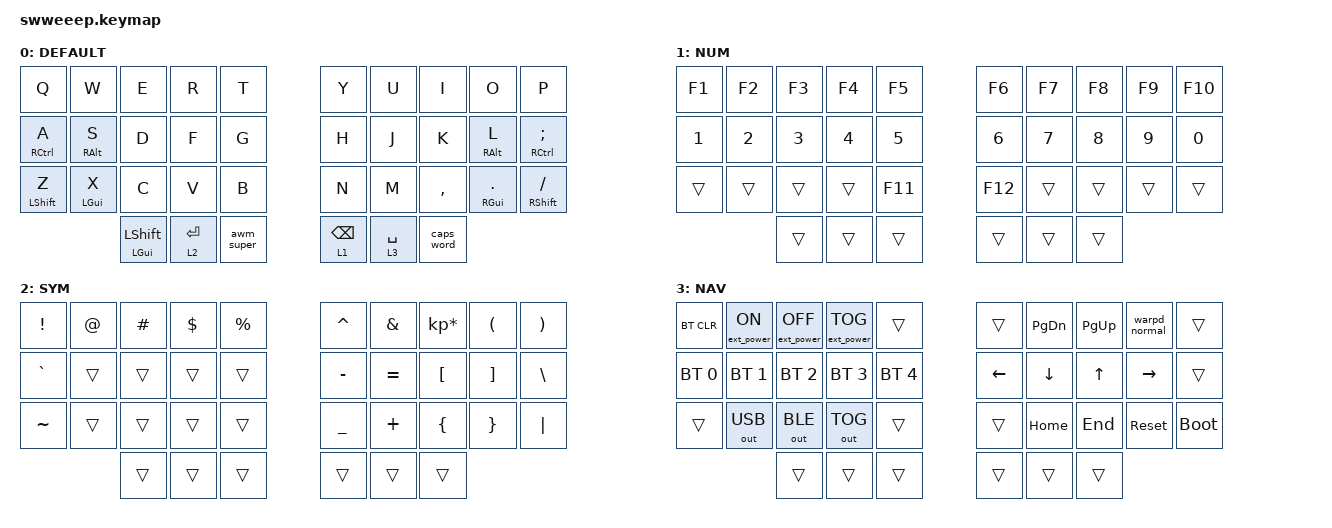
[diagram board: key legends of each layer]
// vim: set ft=devicetree: commentstring=//%s:
/*
* Copyright (c) 2020 The ZMK Contributors
*
* SPDX-License-Identifier: MIT
*/

#include <behaviors.dtsi>
#include <dt-bindings/zmk/bt.h>
#include <dt-bindings/zmk/ext_power.h>
#include <dt-bindings/zmk/keys.h>
#include <dt-bindings/zmk/outputs.h>

#define DEFAULT 0
#define NUM     1
#define SYM     2
#define NAV     3

/ {
    combos {
        compatible = "zmk,combos";

        tab {
            bindings = <&kp TAB>;
            key-positions = <2 1>;
            require-prior-idle-ms = <50>;
            layers = <DEFAULT>;
        };

        backspace {
            bindings = <&kp BACKSPACE>;
            key-positions = <7 6>;
            require-prior-idle-ms = <50>;
            layers = <DEFAULT>;
        };

        delete {
            bindings = <&kp DEL>;
            key-positions = <8 7>;
            require-prior-idle-ms = <50>;
            layers = <DEFAULT>;
        };

        minus {
            bindings = <&kp MINUS>;
            key-positions = <17 18>;
            require-prior-idle-ms = <50>;
            layers = <DEFAULT>;
        };

        quote {
            bindings = <&kp SQT>;
            key-positions = <16 17>;
            require-prior-idle-ms = <50>;
            layers = <DEFAULT>;
        };

        double_quote {
            bindings = <&kp DOUBLE_QUOTES>;
            key-positions = <26 27>;
            require-prior-idle-ms = <50>;
            layers = <DEFAULT>;
        };

        underscore {
            bindings = <&kp UNDERSCORE>;
            key-positions = <28 27>;
            require-prior-idle-ms = <50>;
            layers = <DEFAULT>;
        };

        grave {
            bindings = <&kp GRAVE>;
            key-positions = <3 2>;
            require-prior-idle-ms = <50>;
            layers = <DEFAULT>;
        };

        at {
            bindings = <&kp AT>;
            key-positions = <1 11>;
            require-prior-idle-ms = <50>;
            layers = <DEFAULT>;
        };

        hash {
            bindings = <&kp HASH>;
            key-positions = <2 12>;
            require-prior-idle-ms = <50>;
            layers = <DEFAULT>;
        };

        dollar {
            bindings = <&kp DOLLAR>;
            key-positions = <3 13>;
            require-prior-idle-ms = <50>;
            layers = <DEFAULT>;
        };

        percent {
            bindings = <&kp PERCENT>;
            key-positions = <4 14>;
            require-prior-idle-ms = <50>;
            layers = <DEFAULT>;
        };

        caret {
            bindings = <&kp CARET>;
            key-positions = <5 15>;
            require-prior-idle-ms = <50>;
            layers = <DEFAULT>;
        };

        ampersand {
            bindings = <&kp AMPERSAND>;
            key-positions = <6 16>;
            require-prior-idle-ms = <50>;
            layers = <DEFAULT>;
        };

        star {
            bindings = <&kp ASTERISK>;
            key-positions = <17 7>;
            require-prior-idle-ms = <50>;
            layers = <DEFAULT>;
        };

        backslash {
            bindings = <&kp BACKSLASH>;
            key-positions = <8 18>;
            require-prior-idle-ms = <50>;
            layers = <DEFAULT>;
        };

        pipe {
            bindings = <&kp PIPE>;
            key-positions = <28 18>;
            require-prior-idle-ms = <50>;
            layers = <DEFAULT>;
        };

        tilde {
            bindings = <&kp TILDE>;
            key-positions = <13 12>;
            require-prior-idle-ms = <50>;
            layers = <DEFAULT>;
        };

        bang {
            bindings = <&kp EXCLAMATION>;
            key-positions = <21 11>;
            require-prior-idle-ms = <50>;
            layers = <DEFAULT>;
        };

        plus {
            bindings = <&kp PLUS>;
            key-positions = <27 17>;
            require-prior-idle-ms = <50>;
            layers = <DEFAULT>;
        };

        equal {
            bindings = <&kp EQUAL>;
            key-positions = <26 16>;
            require-prior-idle-ms = <50>;
            layers = <DEFAULT>;
        };
    };

    behaviors {
        hml: hml {
            compatible = "zmk,behavior-hold-tap";
            label = "HOME_ROW_LEFT";
            bindings = <&kp>, <&kp>;

            #binding-cells = <2>;
            tapping-term-ms = <280>;
            quick-tap-ms = <175>;
            require-prior-idle-ms = <150>;
            flavor = "balanced";
            hold-trigger-key-positions = <5 6 8 9 15 16 17 18 19 25 26 27 28 29 7>;
            hold-trigger-on-release;
        };

        hmr: hmr {
            compatible = "zmk,behavior-hold-tap";
            label = "HOME_ROW_RIGHT";
            bindings = <&kp>, <&kp>;

            #binding-cells = <2>;
            tapping-term-ms = <280>;
            quick-tap-ms = <175>;
            require-prior-idle-ms = <150>;
            flavor = "balanced";
            hold-trigger-key-positions = <0 1 3 4 10 11 12 13 14 21 22 23 24 2 20>;
            hold-trigger-on-release;
        };

        thumb_lt: thumb_lt {
            compatible = "zmk,behavior-hold-tap";
            label = "THUMB_LAYER_TAP";
            bindings = <&mo>, <&kp>;

            #binding-cells = <2>;
            tapping-term-ms = <280>;
            quick-tap-ms = <250>;
            require-prior-idle-ms = <150>;
            flavor = "tap-preferred";
        };

        hsk: hold_or_sticky_key {
            compatible = "zmk,behavior-hold-tap";
            label = "HOLD_OR_STICKY_KEY";
            bindings = <&kp>, <&skq>;

            #binding-cells = <2>;
            tapping-term-ms = <275>;
            quick-tap-ms = <250>;
            require-prior-idle-ms = <50>;
            flavor = "tap-preferred";
        };

        awm_super: awm_super {
            compatible = "zmk,behavior-tap-dance";
            label = "AWM_SUPER";
            #binding-cells = <0>;
            bindings = <&lmt LEFT_GUI ESCAPE>, <&lmt LS(LGUI) ESCAPE>;
        };

        skq: skq {
            compatible = "zmk,behavior-sticky-key";
            label = "STICKY_QUICK_RELEASE";
            bindings = <&kp>;
            #binding-cells = <1>;
            release-after-ms = <1500>;
            quick-release;
            ignore-modifiers;
        };

        lmt: lmt {
            compatible = "zmk,behavior-hold-tap";
            label = "LMT";
            bindings = <&lm1>, <&kp>;

            #binding-cells = <2>;
            tapping-term-ms = <150>;
        };
    };

    macros {
        lm: lm {
            label = "LAYER_MOD";
            compatible = "zmk,behavior-macro-two-param";
            wait-ms = <0>;
            tap-ms = <0>;
            #binding-cells = <2>;
            bindings =
                <&macro_param_1to1>,
                <&macro_press>,
                <&mo MACRO_PLACEHOLDER &macro_param_2to1>,
                <&macro_press>,
                <&kp MACRO_PLACEHOLDER>,
                <&macro_pause_for_release>,
                <&macro_param_2to1>,
                <&macro_release>,
                <&kp MACRO_PLACEHOLDER &macro_param_1to1>,
                <&macro_release>,
                <&mo MACRO_PLACEHOLDER>;
        };

        lm1: lm1 {
            compatible = "zmk,behavior-macro-one-param";
            label = "LM1";
            wait-ms = <0>;
            tap-ms = <0>;
            #binding-cells = <1>;
            bindings =
                <&macro_press>,
                <&mo 1 &macro_param_1to1>,
                <&macro_press>,
                <&kp MACRO_PLACEHOLDER>,
                <&macro_pause_for_release>,
                <&macro_param_1to1>,
                <&macro_release>,
                <&kp MACRO_PLACEHOLDER>,
                <&macro_release>,
                <&mo 1>;
        };

        warpd_normal: warpd_normal {
            compatible = "zmk,behavior-macro";
            #binding-cells = <0>;
            bindings = <&kp LA(LG(C))>;
            label = "WARPD_NORMAL";
        };
    };

    keymap {
        compatible = "zmk,keymap";

        default_layer {
            bindings = <
  &kp Q                 &kp W             &kp E                 &kp R              &kp T         &kp Y                  &kp U              &kp I       &kp O                  &kp P
  &hml RIGHT_CONTROL A  &hml RIGHT_ALT S  &kp D                 &kp F              &kp G         &kp H                  &kp J              &kp K       &hmr RIGHT_ALT L       &hmr RIGHT_CONTROL SEMICOLON
  &hml LEFT_SHIFT Z     &hml LEFT_GUI X   &kp C                 &kp V              &kp B         &kp N                  &kp M              &kp COMMA   &hmr RIGHT_GUI PERIOD  &hmr RIGHT_SHIFT SLASH
                                          &hsk LEFT_GUI LSHIFT  &thumb_lt 2 ENTER  &awm_super    &thumb_lt 1 BACKSPACE  &thumb_lt 3 SPACE  &caps_word
            >;

            label = "DEFAULT";
        };

        num_layer {
            bindings = <
  &kp F1        &kp F2        &kp F3        &kp F4        &kp F5          &kp F6        &kp F7        &kp F8        &kp F9        &kp F10
  &kp NUMBER_1  &kp NUMBER_2  &kp NUMBER_3  &kp NUMBER_4  &kp NUMBER_5    &kp NUMBER_6  &kp NUMBER_7  &kp NUMBER_8  &kp NUMBER_9  &kp NUMBER_0
  &trans        &trans        &trans        &trans        &kp F11         &kp F12       &trans        &trans        &trans        &trans
                              &trans        &trans        &trans          &trans        &trans        &trans
            >;

            label = "NUM";
        };

        sym_layer {
            bindings = <
  &kp EXCL   &kp AT  &kp HASH  &kp DLLR  &kp PRCNT    &kp CARET  &kp AMPS   &kp KP_MULTIPLY  &kp LPAR  &kp RPAR
  &kp GRAVE  &trans  &trans    &trans    &trans       &kp MINUS  &kp EQUAL  &kp LBKT         &kp RBKT  &kp BSLH
  &kp TILDE  &trans  &trans    &trans    &trans       &kp UNDER  &kp PLUS   &kp LBRC         &kp RBRC  &kp PIPE
                     &trans    &trans    &trans       &trans     &trans     &trans
            >;

            label = "SYM";
        };

        nav_layer {
            bindings = <
  &bt BT_CLR    &ext_power EP_ON  &ext_power EP_OFF  &ext_power EP_TOG  &trans          &trans          &kp PAGE_DOWN   &kp PAGE_UP   &warpd_normal    &trans
  &bt BT_SEL 0  &bt BT_SEL 1      &bt BT_SEL 2       &bt BT_SEL 3       &bt BT_SEL 4    &kp LEFT_ARROW  &kp DOWN_ARROW  &kp UP_ARROW  &kp RIGHT_ARROW  &trans
  &trans        &out OUT_USB      &out OUT_BLE       &out OUT_TOG       &trans          &trans          &kp HOME        &kp END       &sys_reset       &bootloader
                                  &trans             &trans             &trans          &trans          &trans          &trans
            >;

            label = "NAV";
        };
    };
};
